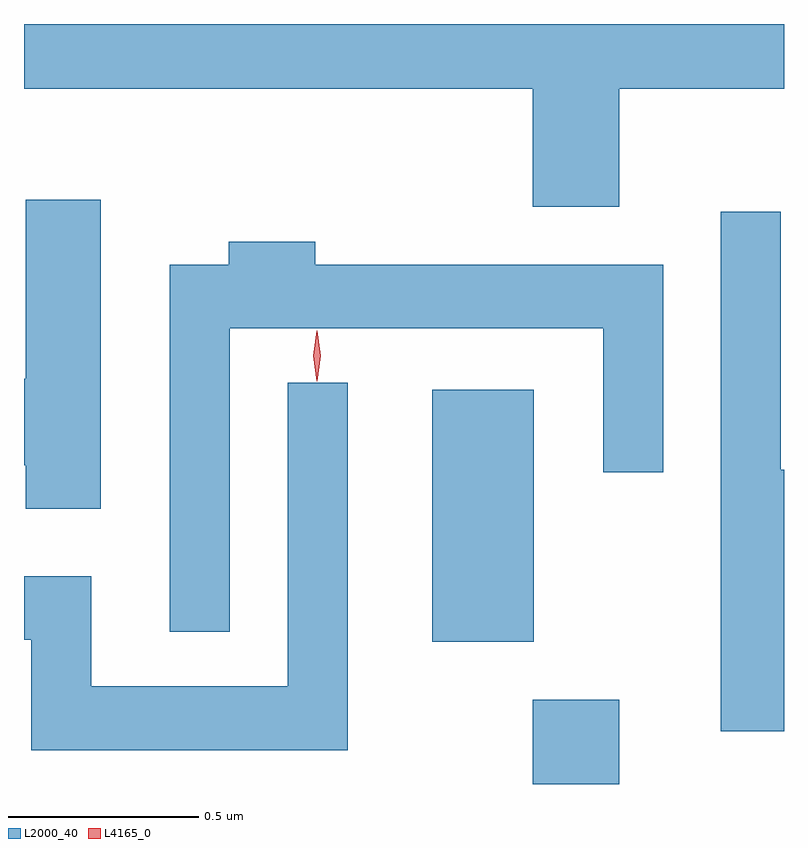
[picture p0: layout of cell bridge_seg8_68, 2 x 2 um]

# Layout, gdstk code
import gdstk
lib = gdstk.Library(unit=1e-6, precision=1e-09)
def R(c, l, rs):  # rectangles x0, y0, x1, y1
    for r in rs: c.add(gdstk.rectangle(r[:2], r[2:], *l))
def P(c, l, *ps):  # polygons
    for p in ps: c.add(gdstk.Polygon(p, *l))
L2000_40 = (2000, 40)
L4165_0 = (4165, 0)

bridge_seg8_68 = lib.new_cell('bridge_seg8_68')
R(bridge_seg8_68, L2000_40, [(1470.931,1923.387,1471.159,1923.609), (1470.666,1923.761,1470.934,1924.424)])
P(bridge_seg8_68, L2000_40, [(1471.159,1925.216),(1471.592,1925.216),(1471.592,1925.387),(1469.592,1925.387),(1469.592,1925.216),(1470.931,1925.216),(1470.931,1924.906),(1471.159,1924.906)],
  [(1469.794,1924.924),(1469.596,1924.924),(1469.596,1924.454),(1469.592,1924.454),(1469.592,1924.226),(1469.596,1924.226),(1469.596,1924.111),(1469.794,1924.111)],
  [(1471.592,1924.214),(1471.584,1924.214),(1471.584,1924.893),(1471.426,1924.893),(1471.426,1923.526),(1471.592,1923.526)],
  [(1470.134,1924.586),(1471.116,1924.586),(1471.116,1924.208),(1471.274,1924.208),(1471.274,1924.754),(1470.359,1924.754),(1470.359,1924.814),(1470.131,1924.814),(1470.131,1924.754),(1469.976,1924.754),(1469.976,1923.788),(1470.134,1923.788)],
  [(1470.444,1924.443),(1470.286,1924.443),(1470.286,1923.644),(1469.769,1923.644),(1469.769,1923.934),(1469.592,1923.934),(1469.592,1923.766),(1469.611,1923.766),(1469.611,1923.476),(1470.444,1923.476)])
P(bridge_seg8_68, L4165_0, [(1470.363,1924.447),(1470.353,1924.514),(1470.363,1924.58),(1470.363,1924.58),(1470.364,1924.58),(1470.373,1924.514),(1470.364,1924.447),(1470.364,1924.447)])

lib.write_gds('bridge_seg8_68.gds')
